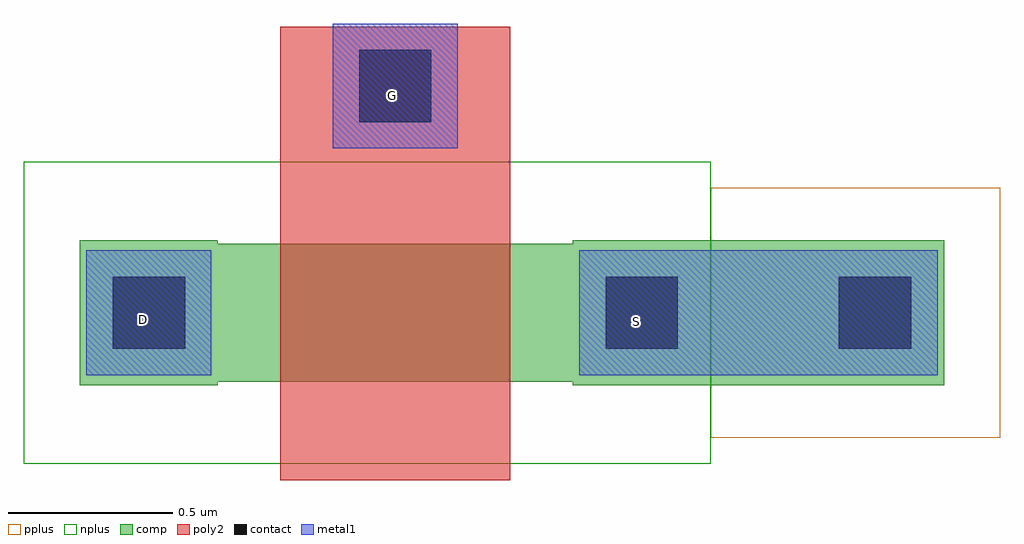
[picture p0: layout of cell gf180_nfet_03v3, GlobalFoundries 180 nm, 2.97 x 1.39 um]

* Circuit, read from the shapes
.subckt gf180_nfet_03v3 D G S
XM1 S G D S nfet_03v3 w=0.42u l=0.7u
.ends

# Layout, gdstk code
import gdstk
lib = gdstk.Library(unit=1e-6, precision=1e-09)
def R(c, l, rs):  # rectangles x0, y0, x1, y1
    for r in rs: c.add(gdstk.rectangle(r[:2], r[2:], *l))
def P(c, l, *ps):  # polygons
    for p in ps: c.add(gdstk.Polygon(p, *l))
comp = (22, 0)
poly2 = (30, 0)
pplus = (31, 0)
nplus = (32, 0)
contact = (33, 0)
metal1 = (34, 0)

nfet = lib.new_cell('nfet')
P(nfet, comp, [(-0.42,-0.01),(-0.42,0.43),(0,0.43),(0,0.42),(1.08,0.42),(1.08,0.43),(2.21,0.43),(2.21,-0.01),(1.08,-0.01),(1.08,0),(0,0),(0,-0.01)])
R(nfet, poly2, [(0.19,-0.3,0.89,1.08)])
R(nfet, pplus, [(1.5,-0.17,2.38,0.59)])
R(nfet, nplus, [(-0.59,-0.25,1.5,0.67)])
R(nfet, contact, [(-0.32,0.1,-0.1,0.32), (1.18,0.1,1.4,0.32), (1.89,0.1,2.11,0.32), (0.43,0.79,0.65,1.01)])
R(nfet, metal1, [(-0.4,0.02,-0.02,0.4), (1.1,0.02,1.48,0.4), (1.81,0.02,2.19,0.4), (0.35,0.71,0.73,1.09)])

gf180_nfet_03v3 = lib.new_cell('gf180_nfet_03v3')
gf180_nfet_03v3.add(gdstk.FlexPath([(2.07,0.51),(2.4,0.51)], 0.38, ends="flush", simple_path=True, layer=34, datatype=0))  # metal1
gf180_nfet_03v3.add(gdstk.Reference(nfet, (0.59,0.3)))
gf180_nfet_03v3.add(gdstk.Label('D', (0.365,0.49), layer=34, texttype=10))
gf180_nfet_03v3.add(gdstk.Label('S', (1.865,0.485), layer=34, texttype=10))
gf180_nfet_03v3.add(gdstk.Label('G', (1.12,1.17), layer=34, texttype=10))

lib.write_gds('gf180_nfet_03v3.gds')
